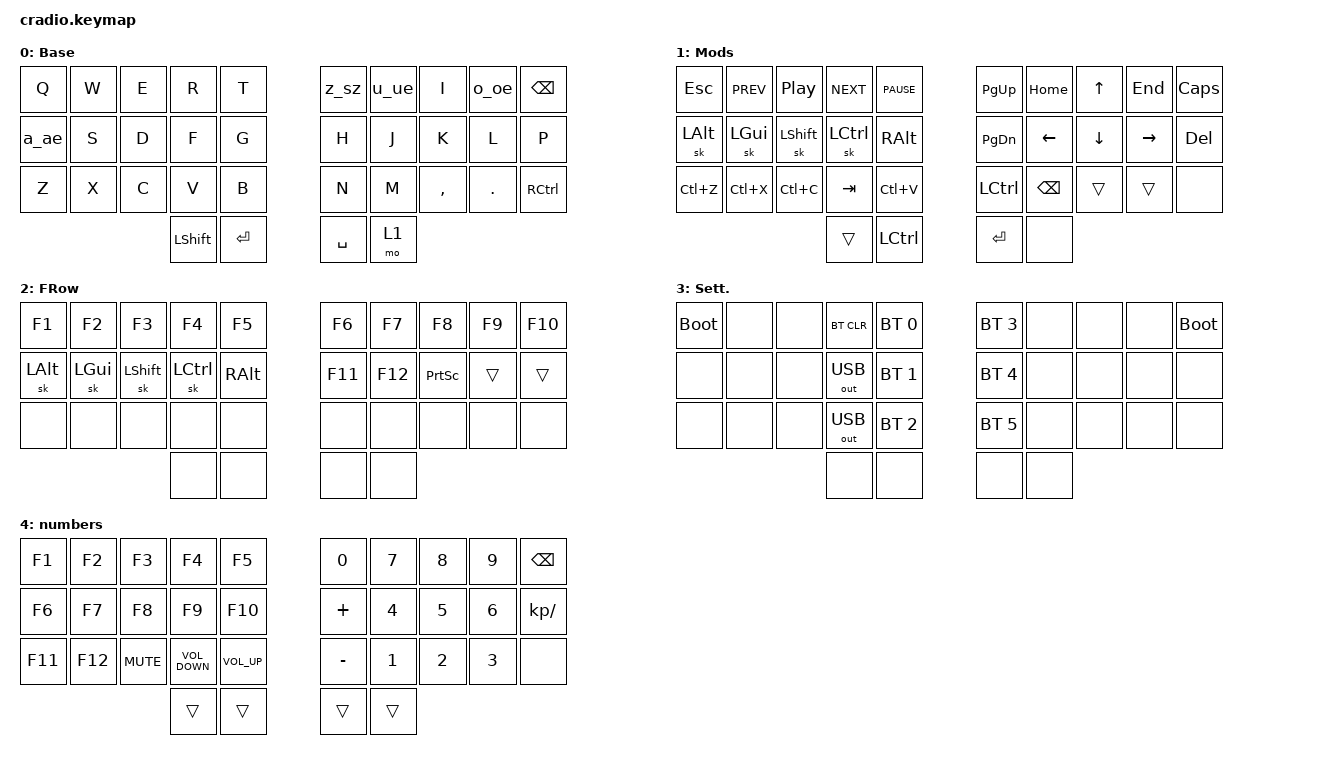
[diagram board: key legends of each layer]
/*
 * Copyright (c) 2020 duckyb
 *
 * SPDX-License-Identifier: MIT
 */

#include <behaviors.dtsi>
#include <dt-bindings/zmk/bt.h>
#include <dt-bindings/zmk/keys.h>
#include <dt-bindings/zmk/outputs.h>

// Layer definitions

#define BASE 0
#define SYM 1
#define EXT 2
#define FNC 3
#define SYM2 4
#define ACCENT 5
#define SETTINGS 6

// -----------------

&sk {
    // don't release mods on other mods presses

    ignore-modifiers;
};

/ {
    behaviors {
        // Enables holding the first mod-tap key
        // by performing a tap-release-hold sequence.
        // To use it: "&qt KEYCODE1 KEYCODE2"

        qt: quick_tap {
            compatible = "zmk,behavior-hold-tap";
            label = "QUICK_TAP";
            #binding-cells = <2>;
            flavor = "hold-preferred";
            tapping-term-ms = <200>;
            quick-tap-ms = <200>;
            bindings = <&kp>, <&kp>;
        };

        o_oe: tap_dance_oe {
            compatible = "zmk,behavior-tap-dance";
            #binding-cells = <0>;
            tapping-term-ms = <175>;
            bindings = <&kp O>, <&kp SEMI>;
        };

        a_ae: tap_dance_ae {
            compatible = "zmk,behavior-tap-dance";
            #binding-cells = <0>;
            tapping-term-ms = <300>;
            bindings = <&kp A>, <&kp SQT>;
        };

        u_ue: tap_dance_ue {
            compatible = "zmk,behavior-tap-dance";
            #binding-cells = <0>;
            tapping-term-ms = <200>;
            bindings = <&kp U>, <&kp LBKT>;
        };

        z_sz: tap_dance_sz {
            compatible = "zmk,behavior-tap-dance";
            #binding-cells = <0>;
            tapping-term-ms = <200>;
            bindings = <&kp Y>, <&kp MINUS>;
        };
    };

    macros {
        // sometimes my device thinks a modifier is being held down
        // pressing all modifiers fixes it.

        unstick: unstick {
            label = "ZM_unstick";
            compatible = "zmk,behavior-macro";
            #binding-cells = <0>;
            #bindings = <&kp LSHIFT &kp RSHIFT &kp LCTRL &kp RCTRL &kp LALT &kp RALT &kp LGUI &kp RGUI>;
            bindings = <&kp LALT &kp RALT>;
        };
    };

    combos {
        compatible = "zmk,combos";

        // both right thumb keys

        combo_accent {
            timeout-ms = <200>;
            key-positions = <32 33>;
            bindings = <&mo 3>;
        };

        // internal-left & external-right thumb keys
        // both left thumb keys

        left_eckig_klammer {
            key-positions = <3 4>;
            bindings = <&kp RA(N8)>;
        };

        right_eckig_klammer {
            bindings = <&kp RA(N9)>;
            key-positions = <5 6>;
        };

        left_rund_klammer {
            bindings = <&kp LS(N8)>;
            key-positions = <23 24>;
        };

        right_rund_klammer {
            bindings = <&kp LS(N9)>;
            key-positions = <26 25>;
        };

        copy {
            bindings = <&kp LC(C)>;
            key-positions = <21 22>;
        };

        paste {
            bindings = <&kp LC(V)>;
            key-positions = <22 23>;
        };

        ausrufezeichen {
            bindings = <&kp EXCLAMATION>;
            key-positions = <0 1>;
        };

        windows {
            bindings = <&kp LEFT_WIN>;
            key-positions = <20 21>;
        };

        escape {
            bindings = <&kp ESCAPE>;
            key-positions = <0 10>;
        };

        numberlayer {
            bindings = <&mo 4>;
            key-positions = <30 33>;
        };

        questionmark {
            bindings = <&kp LS(MINUS)>;
            key-positions = <8 9>;
        };

        quotation {
            bindings = <&kp AT_SIGN>;
            key-positions = <4 5>;
        };

        hashtag {
            bindings = <&kp HASH>;
            key-positions = <3 6>;
        };

        percent {
            bindings = <&kp LS(N5)>;
            key-positions = <8 1>;
        };

        pipe {
            bindings = <&kp PIPE>;
            key-positions = <23 26>;
        };

        at_sign {
            bindings = <&kp DOUBLE_QUOTES>;
            key-positions = <24 25>;
        };

        cut {
            bindings = <&kp LC(X)>;
            key-positions = <23 21>;
        };

        markall {
            bindings = <&kp LC(A)>;
            key-positions = <22 23 21>;
        };

        tab {
            bindings = <&kp TAB>;
            key-positions = <1 2 3>;
        };

        minus {
            bindings = <&kp MINUS>;
            key-positions = <29 28>;
        };

        at-zeichen {
            bindings = <&kp AT>;
            key-positions = <2 7>;
        };

        // left index & middle fingers (home-row)
        // hold control & space for Adobe workflowleft_eckig_klammer {};
    };

    keymap {
        compatible = "zmk,keymap";

        // Base alpha layer

        default_layer {
            label = "Base";
            bindings = <
&kp Q  &kp W  &kp E  &kp R           &kp T        &z_sz      &u_ue  &kp I      &o_oe    &kp BACKSPACE
&a_ae  &kp S  &kp D  &kp F           &kp G        &kp H      &kp J  &kp K      &kp L    &kp P
&kp Z  &kp X  &kp C  &kp V           &kp B        &kp N      &kp M  &kp COMMA  &kp DOT  &kp RIGHT_CONTROL
                     &kp LEFT_SHIFT  &kp ENTER    &kp SPACE  &mo 1
            >;
        };

        // Numbers and high frequency symbols
        // Main modifiers and arrow keys

        ext_layer {
            label = "Mods";
            bindings = <
&kp ESC    &kp C_PREV  &kp C_PP    &kp C_NEXT  &kp C_PAUSE    &kp PG_UP         &kp HOME  &kp UP    &kp END    &kp CAPS
&sk LALT   &sk LGUI    &sk LSHIFT  &sk LCTRL   &kp RALT       &kp PG_DN         &kp LEFT  &kp DOWN  &kp RIGHT  &kp DEL
&kp LC(Z)  &kp LC(X)   &kp LC(C)   &kp TAB     &kp LC(V)      &kp LEFT_CONTROL  &kp BSPC  &trans    &trans     &none
                                   &trans      &kp LCTRL      &kp ENTER         &none
            >;
        };

        // Function keys with modifiers

        fnc_layer {
            label = "FRow";
            bindings = <
&kp F1    &kp F2    &kp F3      &kp F4     &kp F5      &kp F6   &kp F7   &kp F8           &kp F9  &kp F10
&sk LALT  &sk LGUI  &sk LSHIFT  &sk LCTRL  &kp RALT    &kp F11  &kp F12  &kp PRINTSCREEN  &trans  &trans
&none     &none     &none       &none      &none       &none    &none    &none            &none   &none
                                &none      &none       &none    &none
            >;
        };

        // Low frequency symbols.
        // Used to type regional accents.
        // Used to change the keyboard's settings.

        settings_layer {
            label = "Sett.";
            bindings = <
&bootloader  &none  &none  &bt BT_CLR    &bt BT_SEL 0    &bt BT_SEL 3  &none  &none  &none  &bootloader
&none        &none  &none  &out OUT_USB  &bt BT_SEL 1    &bt BT_SEL 4  &none  &none  &none  &none
&none        &none  &none  &out OUT_USB  &bt BT_SEL 2    &bt BT_SEL 5  &none  &none  &none  &none
                           &none         &none           &none         &none
            >;
        };

        numbers {
            bindings = <
&kp F1   &kp F2   &kp F3      &kp F4             &kp F5             &kp N0     &kp N7        &kp N8        &kp N9        &kp BACKSPACE
&kp F6   &kp F7   &kp F8      &kp F9             &kp F10            &kp PLUS   &kp NUMBER_4  &kp N5        &kp NUMBER_6  &kp KP_DIVIDE
&kp F11  &kp F12  &kp K_MUTE  &kp C_VOLUME_DOWN  &kp C_VOLUME_UP    &kp MINUS  &kp NUMBER_1  &kp NUMBER_2  &kp NUMBER_3  &none
                              &trans             &trans             &trans     &trans
            >;
        };
    };
};
